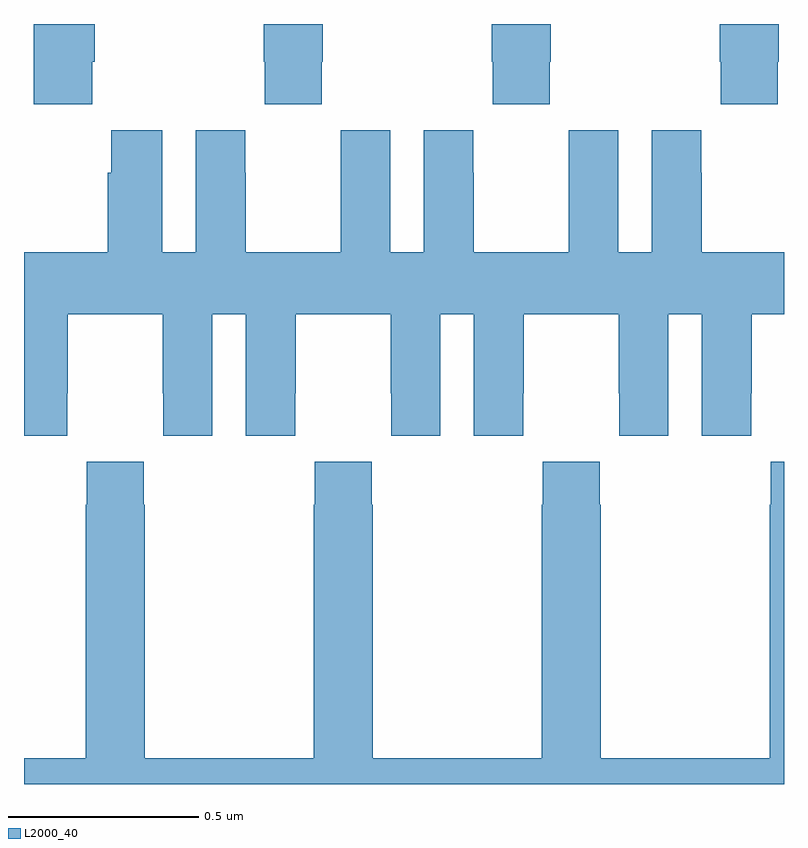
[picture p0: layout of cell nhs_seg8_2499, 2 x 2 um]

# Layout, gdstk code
import gdstk
lib = gdstk.Library(unit=1e-6, precision=1e-09)
def P(c, l, *ps):  # polygons
    for p in ps: c.add(gdstk.Polygon(p, *l))
L2000_40 = (2000, 40)

nhs_seg8_2499 = lib.new_cell('nhs_seg8_2499')
P(nhs_seg8_2499, L2000_40, [(145.983,1147.801),(145.986,1147.801),(145.986,1147.9),(145.831,1147.9),(145.831,1147.801),(145.833,1147.801),(145.833,1147.689),(145.983,1147.689)],
  [(145.383,1147.801),(145.386,1147.801),(145.386,1147.9),(145.231,1147.9),(145.231,1147.801),(145.233,1147.801),(145.233,1147.689),(145.383,1147.689)],
  [(144.783,1147.801),(144.786,1147.801),(144.786,1147.9),(144.631,1147.9),(144.631,1147.801),(144.633,1147.801),(144.633,1147.689),(144.783,1147.689)],
  [(144.179,1147.801),(144.186,1147.801),(144.186,1147.9),(144.026,1147.9),(144.026,1147.689),(144.179,1147.689)],
  [(145.783,1147.508),(145.782,1147.508),(145.782,1147.621),(145.652,1147.621),(145.652,1147.3),(145.564,1147.3),(145.564,1147.621),(145.434,1147.621),(145.434,1147.508),(145.433,1147.508),(145.433,1147.3),(145.183,1147.3),(145.183,1147.508),(145.182,1147.508),(145.182,1147.621),(145.052,1147.621),(145.052,1147.3),(144.964,1147.3),(144.964,1147.621),(144.834,1147.621),(144.834,1147.508),(144.833,1147.508),(144.833,1147.3),(144.583,1147.3),(144.583,1147.508),(144.582,1147.508),(144.582,1147.621),(144.452,1147.621),(144.452,1147.3),(144.364,1147.3),(144.364,1147.621),(144.23,1147.621),(144.23,1147.508),(144.221,1147.508),(144.221,1147.3),(144,1147.3),(144,1146.816),(144.114,1146.816),(144.114,1146.928),(144.115,1146.928),(144.115,1147.136),(144.365,1147.136),(144.365,1146.928),(144.366,1146.928),(144.366,1146.816),(144.496,1146.816),(144.496,1147.136),(144.584,1147.136),(144.584,1146.816),(144.714,1146.816),(144.714,1146.928),(144.715,1146.928),(144.715,1147.136),(144.965,1147.136),(144.965,1146.928),(144.966,1146.928),(144.966,1146.816),(145.096,1146.816),(145.096,1147.136),(145.184,1147.136),(145.184,1146.816),(145.314,1146.816),(145.314,1146.928),(145.315,1146.928),(145.315,1147.136),(145.565,1147.136),(145.565,1146.928),(145.566,1146.928),(145.566,1146.816),(145.696,1146.816),(145.696,1147.136),(145.784,1147.136),(145.784,1146.816),(145.914,1146.816),(145.914,1146.928),(145.915,1146.928),(145.915,1147.136),(146,1147.136),(146,1147.3),(145.783,1147.3)],
  [(144.165,1146.635),(144.163,1146.635),(144.163,1145.968),(144,1145.968),(144,1145.9),(146,1145.9),(146,1146.748),(145.965,1146.748),(145.965,1146.635),(145.963,1146.635),(145.963,1145.968),(145.518,1145.968),(145.518,1146.635),(145.515,1146.635),(145.515,1146.748),(145.365,1146.748),(145.365,1146.635),(145.363,1146.635),(145.363,1145.968),(144.918,1145.968),(144.918,1146.635),(144.915,1146.635),(144.915,1146.748),(144.765,1146.748),(144.765,1146.635),(144.763,1146.635),(144.763,1145.968),(144.318,1145.968),(144.318,1146.635),(144.315,1146.635),(144.315,1146.748),(144.165,1146.748)])

lib.write_gds('nhs_seg8_2499.gds')
